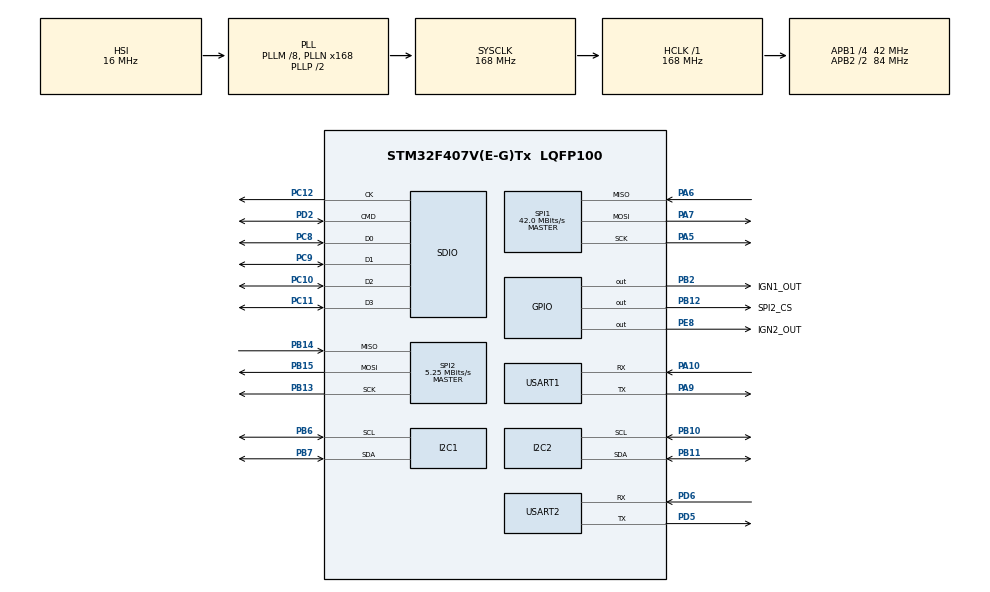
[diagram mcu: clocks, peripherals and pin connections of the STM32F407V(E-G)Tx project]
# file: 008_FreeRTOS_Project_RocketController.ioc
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Dma.Request0=USART1_TX
Dma.Request1=USART2_RX
Dma.Request2=USART2_TX
Dma.USART1_TX.0.Direction=DMA_MEMORY_TO_PERIPH
Dma.USART1_TX.0.FIFOMode=DMA_FIFOMODE_DISABLE
Dma.USART1_TX.0.Instance=DMA2_Stream7
Dma.USART1_TX.0.MemDataAlignment=DMA_MDATAALIGN_BYTE
Dma.USART1_TX.0.MemInc=DMA_MINC_ENABLE
Dma.USART1_TX.0.Mode=DMA_NORMAL
Dma.USART1_TX.0.PeriphDataAlignment=DMA_PDATAALIGN_BYTE
Dma.USART1_TX.0.PeriphInc=DMA_PINC_DISABLE
Dma.USART1_TX.0.Priority=DMA_PRIORITY_HIGH
Dma.USART2_RX.1.Direction=DMA_PERIPH_TO_MEMORY
Dma.USART2_RX.1.FIFOMode=DMA_FIFOMODE_DISABLE
Dma.USART2_RX.1.Instance=DMA1_Stream5
Dma.USART2_RX.1.MemDataAlignment=DMA_MDATAALIGN_BYTE
Dma.USART2_RX.1.MemInc=DMA_MINC_ENABLE
Dma.USART2_RX.1.Mode=DMA_CIRCULAR
Dma.USART2_RX.1.PeriphDataAlignment=DMA_PDATAALIGN_BYTE
Dma.USART2_RX.1.PeriphInc=DMA_PINC_DISABLE
Dma.USART2_RX.1.Priority=DMA_PRIORITY_MEDIUM
Dma.USART2_TX.2.Direction=DMA_MEMORY_TO_PERIPH
Dma.USART2_TX.2.FIFOMode=DMA_FIFOMODE_DISABLE
Dma.USART2_TX.2.Instance=DMA1_Stream6
Dma.USART2_TX.2.MemDataAlignment=DMA_MDATAALIGN_BYTE
Dma.USART2_TX.2.MemInc=DMA_MINC_ENABLE
Dma.USART2_TX.2.Mode=DMA_NORMAL
Dma.USART2_TX.2.PeriphDataAlignment=DMA_PDATAALIGN_BYTE
Dma.USART2_TX.2.PeriphInc=DMA_PINC_DISABLE
Dma.USART2_TX.2.Priority=DMA_PRIORITY_MEDIUM
Mcu.Family=STM32F4
Mcu.Name=STM32F407V(E-G)Tx
Mcu.Package=LQFP100
NVIC.DMA1_Stream5_IRQn=true\:0\:0\:false\:false\:true\:false\:true\:true
NVIC.DMA1_Stream6_IRQn=true\:0\:0\:false\:false\:true\:false\:true\:true
NVIC.DMA2_Stream7_IRQn=true\:0\:0\:false\:false\:true\:false\:true\:true
NVIC.PriorityGroup=NVIC_PRIORITYGROUP_4
NVIC.TIM6_DAC_IRQn=true\:15\:0\:false\:false\:true\:false\:true\:true
NVIC.TimeBase=TIM6_DAC_IRQn
NVIC.TimeBaseIP=TIM6
PA10.Mode=Asynchronous
PA10.Signal=USART1_RX
PA13.Mode=Trace_Asynchronous_SW
PA13.Signal=SYS_JTMS-SWDIO
PA14.Mode=Trace_Asynchronous_SW
PA14.Signal=SYS_JTCK-SWCLK
PA5.Mode=Full_Duplex_Master
PA5.Signal=SPI1_SCK
PA6.Mode=Full_Duplex_Master
PA6.Signal=SPI1_MISO
PA7.Mode=Full_Duplex_Master
PA7.Signal=SPI1_MOSI
PA9.Mode=Asynchronous
PA9.Signal=USART1_TX
PB10.Mode=I2C
PB10.Signal=I2C2_SCL
PB11.Mode=I2C
PB11.Signal=I2C2_SDA
PB12.GPIO_Label=SPI2_CS
PB12.Signal=GPIO_Output
PB13.Mode=Full_Duplex_Master
PB13.Signal=SPI2_SCK
PB14.Mode=Full_Duplex_Master
PB14.Signal=SPI2_MISO
PB15.Mode=Full_Duplex_Master
PB15.Signal=SPI2_MOSI
PB2.GPIO_Label=IGN1_OUT
PB2.GPIO_Speed=GPIO_SPEED_FREQ_VERY_HIGH
PB2.Signal=GPIO_Output
PB3.Mode=Trace_Asynchronous_SW
PB3.Signal=SYS_JTDO-SWO
PB6.Mode=I2C
PB6.Signal=I2C1_SCL
PB7.Mode=I2C
PB7.Signal=I2C1_SDA
PC10.Mode=SD_4_bits_Wide_bus
PC10.Signal=SDIO_D2
PC11.Mode=SD_4_bits_Wide_bus
PC11.Signal=SDIO_D3
PC12.Mode=SD_4_bits_Wide_bus
PC12.Signal=SDIO_CK
PC8.Mode=SD_4_bits_Wide_bus
PC8.Signal=SDIO_D0
PC9.Mode=SD_4_bits_Wide_bus
PC9.Signal=SDIO_D1
PD2.Mode=SD_4_bits_Wide_bus
PD2.Signal=SDIO_CMD
PD5.Mode=Asynchronous
PD5.Signal=USART2_TX
PD6.Mode=Asynchronous
PD6.Signal=USART2_RX
PE8.GPIO_Label=IGN2_OUT
PE8.GPIO_Speed=GPIO_SPEED_FREQ_VERY_HIGH
PE8.Signal=GPIO_Output
ProjectManager.HeapSize=0x200
ProjectManager.StackSize=0x400
ProjectManager.TargetToolchain=STM32CubeIDE
RCC.48MHZClocksFreq_Value=42000000
RCC.AHBFreq_Value=168000000
RCC.APB1CLKDivider=RCC_HCLK_DIV4
RCC.APB1Freq_Value=42000000
RCC.APB1TimFreq_Value=84000000
RCC.APB2CLKDivider=RCC_HCLK_DIV2
RCC.APB2Freq_Value=84000000
RCC.APB2TimFreq_Value=168000000
RCC.CortexFreq_Value=168000000
RCC.HCLKFreq_Value=168000000
RCC.HSE_VALUE=25000000
RCC.HSI_VALUE=16000000
RCC.LSE_VALUE=32768
RCC.PLLM=8
RCC.PLLN=168
RCC.PLLQ=8
RCC.SYSCLKFreq_VALUE=168000000
RCC.SYSCLKSource=RCC_SYSCLKSOURCE_PLLCLK
RCC.VCOOutputFreq_Value=336000000
SDIO.ClockDiv=4
SPI1.CalculateBaudRate=42.0 MBits/s
SPI1.Direction=SPI_DIRECTION_2LINES
SPI1.Mode=SPI_MODE_MASTER
SPI1.VirtualType=VM_MASTER
SPI2.BaudRatePrescaler=SPI_BAUDRATEPRESCALER_8
SPI2.CalculateBaudRate=5.25 MBits/s
SPI2.Direction=SPI_DIRECTION_2LINES
SPI2.Mode=SPI_MODE_MASTER
SPI2.VirtualType=VM_MASTER
USART1.VirtualMode=VM_ASYNC
USART2.VirtualMode=VM_ASYNC
VP_FATFS_VS_SDIO.Mode=SDIO
VP_SYS_VS_tim6.Mode=TIM6
board=custom

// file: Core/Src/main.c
/* USER CODE BEGIN Header */
/**
  ******************************************************************************
  * @file           : main.c
  * @brief          : Main program body
  ******************************************************************************
  * @attention
  *
  * Copyright (c) 2024 STMicroelectronics.
  * All rights reserved.
  *
  * This software is licensed under terms that can be found in the LICENSE file
  * in the root directory of this software component.
  * If no LICENSE file comes with this software, it is provided AS-IS.
  *
  ******************************************************************************
  */
/* USER CODE END Header */
#include "main.h"
#include "fatfs.h"

/* USER CODE BEGIN Includes */
#include "FreeRTOS.h"
#include "task.h"
#include "semphr.h"

//BME280 and BNO055 library
#include "bno055_stm32.h"
#include "bme280.h"
#include "lwgps/lwgps.h"
#include <math.h>

//SD Card library
#include "File_Handling.h"

#include "KalmanFilter.h"
/* USER CODE END Includes */

/* USER CODE BEGIN PTD */
typedef union{
 float sayi;
 unsigned char array[4];
} float32toInt8;
/* USER CODE END PTD */

I2C_HandleTypeDef hi2c1;
I2C_HandleTypeDef hi2c2;

SD_HandleTypeDef hsd;

SPI_HandleTypeDef hspi1;
SPI_HandleTypeDef hspi2;

UART_HandleTypeDef huart1;
UART_HandleTypeDef huart2;
DMA_HandleTypeDef hdma_usart1_tx;
DMA_HandleTypeDef hdma_usart2_rx;
DMA_HandleTypeDef hdma_usart2_tx;

/* USER CODE BEGIN PV */
xTaskHandle UARTTaskHandle;
xTaskHandle BME280TaskHandle;
xTaskHandle BNO055TaskHandle;
/*Rocket controller tasks*/
xTaskHandle GPSTaskHandle; //GPS
xTaskHandle SDCardTaskHandle; //SD card
xTaskHandle FirstIgnTaskHandle;
xTaskHandle SecondIgnTaskHandle;

//Create Semaphore
xSemaphoreHandle Semap1;

//Kalman Filter
KalmanFilter_t kalman_filter;

//---------Sensor and Modules Variables-------------
//BNO055 variables
bno055_vector_t accel,gyro,euler;
//accelometer variables
float accel_x,accel_y,accel_z;
//gyroscope variables
float gyro_x,gyro_y,gyro_z;
//Euler angles variables
float euler_x,euler_y,euler_z;

//After kalman filters BNO055 variables
//accelometer kalman variables
float accel_x_kalman, accel_y_kalman, accel_z_kalman;

//gyroscope kalman variables
float gyro_x_kalman, gyro_y_kalman, gyro_z_kalman;

//Euler kalman angles
float euler_x_kalman, euler_y_kalman, euler_z_kalman;

//BME280 variables
float Temperature,Pressure,Humidity;

extern float Altitude;

//Kalman variable
float Altitude_Kalman,Pressure_Kalman, Temperature_Kalman, Humidity_Kalman;

//GPS variables
float gpsAlt,gpsLat,gpsLon;

//message length
char buff[60];

int sayac=0;

lwgps_t gps;

extern uint8_t rx_data[1];

//ignitions status
int ign1_status =0;
int ign2_status =0;

//velocity variables
float v0 =0.0; //başlangıç hızı
float velocity = 0.0; // Başlangıç hızı (0 kabul edelim)
float velocity_change;
float dt = 0.1; // Zaman adımı (100 ms)
float acceleration_vector;

int indx = 0;
//transmit message buffer

/* USER CODE END PV */

void SystemClock_Config(void);
static void MX_GPIO_Init(void);
static void MX_DMA_Init(void);
static void MX_USART1_UART_Init(void);
static void MX_USART2_UART_Init(void);
static void MX_I2C1_Init(void);
static void MX_I2C2_Init(void);
static void MX_SPI1_Init(void);
static void MX_SPI2_Init(void);
static void MX_SDIO_SD_Init(void);
/* USER CODE BEGIN PFP */
void StartUARTTask(void *argument);
void StartBME280Task(void *argument);
void StartBNO055Task(void *argument);
void StartGPSTask(void *argument);
void StartIgn1Task(void *argument);
void StartIgn2Task(void *argument);
void StartSDCardTask(void *argument);

float calculate_velocity(float v0,float a, float dt);
float calculate_acceleration_magnitude(float ax, float ay, float az);
//checksum function
unsigned char cs(void);
//paket mesaj
void paket(int sayac);
/* USER CODE END PFP */

int main(void)
{
  /* USER CODE BEGIN 1 */
	BaseType_t status;
  /* USER CODE END 1 */

  /* MCU Configuration--------------------------------------------------------*/

  /* Reset of all peripherals, Initializes the Flash interface and the Systick. */
  HAL_Init();

  /* Configure the system clock */
  SystemClock_Config();

  /* Initialize all configured peripherals */
  MX_GPIO_Init();
  MX_DMA_Init();
  MX_USART1_UART_Init();
  MX_USART2_UART_Init();
  MX_I2C1_Init();
  MX_I2C2_Init();
  MX_SPI1_Init();
  MX_SPI2_Init();
  MX_FATFS_Init();
  MX_SDIO_SD_Init();
  /* USER CODE BEGIN 2 */

  //Init Kalman filter
  KalmanFilter_Init(&kalman_filter, 2.0f, 1.0f, 0.01f);

  //Config BME280
   BME280_Config(OSRS_2, OSRS_16, OSRS_1, MODE_NORMAL, T_SB_0p5, IIR_16);

   //Config BNO055
   bno055_assignI2C(&hi2c2);
   bno055_setup();
   bno055_setOperationModeNDOF();

   //SD Card inits
   Mount_SD("/");
   Format_SD();
   Create_File("Rocket_Data.TXT");
   Unmount_SD("/");

   //Create UART task
   status = xTaskCreate(StartUARTTask, "UART", 128, NULL, 2, &UARTTaskHandle);

   configASSERT(status==pdPASS);

   //Create BME280 Task
   status = xTaskCreate(StartBME280Task, "BME280", 128, NULL, 2, &BME280TaskHandle);

   configASSERT(status==pdPASS);

   /*BNO055 Task*/
   status = xTaskCreate(StartBNO055Task, "BNO055", 128, NULL, 2, &BNO055TaskHandle);

   configASSERT(status==pdPASS);

   /*GPS Task*/
   status = xTaskCreate(StartGPSTask, "NEOM8N", 128, NULL, 2, &GPSTaskHandle);

   configASSERT(status==pdPASS);

   /*Ignition 1 and 2 task*/
   status = xTaskCreate(StartIgn1Task, "IGN1", 128, NULL, 2, &FirstIgnTaskHandle);

   configASSERT(status==pdPASS);

   status = xTaskCreate(StartIgn2Task, "IGN2", 128, NULL, 2, &SecondIgnTaskHandle);

   configASSERT(status==pdPASS);

   /*SD Card Task. This task has lower priority*/
   status = xTaskCreate(StartSDCardTask, "SD-Card", 128, NULL, 1, &SDCardTaskHandle);

   configASSERT(status==pdPASS);

   //Create semaphore. I used semaphore because that there are same priorites task.
   Semap1 = xSemaphoreCreateCounting(9, 0);

   if(Semap1 != NULL){
 	  //Create successfully
   }

   vTaskStartScheduler();

   xTaskNotifyGive(BME280TaskHandle);

   xTaskNotifyGive(BNO055TaskHandle);

   xTaskNotify(GPSTaskHandle,0,eNoAction);

   xTaskNotify(UARTTaskHandle,0,eNoAction);
  /* USER CODE END 2 */

  /* Infinite loop */
  while (1)
  {

  }
}

void SystemClock_Config(void)
{
  RCC_OscInitTypeDef RCC_OscInitStruct = {0};
  RCC_ClkInitTypeDef RCC_ClkInitStruct = {0};

  /** Configure the main internal regulator output voltage
  */
  __HAL_RCC_PWR_CLK_ENABLE();
  __HAL_PWR_VOLTAGESCALING_CONFIG(PWR_REGULATOR_VOLTAGE_SCALE1);

  /** Initializes the RCC Oscillators according to the specified parameters
  * in the RCC_OscInitTypeDef structure.
  */
  RCC_OscInitStruct.OscillatorType = RCC_OSCILLATORTYPE_HSI;
  RCC_OscInitStruct.HSIState = RCC_HSI_ON;
  RCC_OscInitStruct.HSICalibrationValue = RCC_HSICALIBRATION_DEFAULT;
  RCC_OscInitStruct.PLL.PLLState = RCC_PLL_ON;
  RCC_OscInitStruct.PLL.PLLSource = RCC_PLLSOURCE_HSI;
  RCC_OscInitStruct.PLL.PLLM = 8;
  RCC_OscInitStruct.PLL.PLLN = 168;
  RCC_OscInitStruct.PLL.PLLP = RCC_PLLP_DIV2;
  RCC_OscInitStruct.PLL.PLLQ = 8;
  if (HAL_RCC_OscConfig(&RCC_OscInitStruct) != HAL_OK)
  {
    Error_Handler();
  }

  /** Initializes the CPU, AHB and APB buses clocks
  */
  RCC_ClkInitStruct.ClockType = RCC_CLOCKTYPE_HCLK|RCC_CLOCKTYPE_SYSCLK
                              |RCC_CLOCKTYPE_PCLK1|RCC_CLOCKTYPE_PCLK2;
  RCC_ClkInitStruct.SYSCLKSource = RCC_SYSCLKSOURCE_PLLCLK;
  RCC_ClkInitStruct.AHBCLKDivider = RCC_SYSCLK_DIV1;
  RCC_ClkInitStruct.APB1CLKDivider = RCC_HCLK_DIV4;
  RCC_ClkInitStruct.APB2CLKDivider = RCC_HCLK_DIV2;

  if (HAL_RCC_ClockConfig(&RCC_ClkInitStruct, FLASH_LATENCY_5) != HAL_OK)
  {
    Error_Handler();
  }
}

static void MX_I2C1_Init(void)
{

  hi2c1.Instance = I2C1;
  hi2c1.Init.ClockSpeed = 100000;
  hi2c1.Init.DutyCycle = I2C_DUTYCYCLE_2;
  hi2c1.Init.OwnAddress1 = 0;
  hi2c1.Init.AddressingMode = I2C_ADDRESSINGMODE_7BIT;
  hi2c1.Init.DualAddressMode = I2C_DUALADDRESS_DISABLE;
  hi2c1.Init.OwnAddress2 = 0;
  hi2c1.Init.GeneralCallMode = I2C_GENERALCALL_DISABLE;
  hi2c1.Init.NoStretchMode = I2C_NOSTRETCH_DISABLE;
  if (HAL_I2C_Init(&hi2c1) != HAL_OK)
  {
    Error_Handler();
  }

}

static void MX_I2C2_Init(void)
{

  hi2c2.Instance = I2C2;
  hi2c2.Init.ClockSpeed = 100000;
  hi2c2.Init.DutyCycle = I2C_DUTYCYCLE_2;
  hi2c2.Init.OwnAddress1 = 0;
  hi2c2.Init.AddressingMode = I2C_ADDRESSINGMODE_7BIT;
  hi2c2.Init.DualAddressMode = I2C_DUALADDRESS_DISABLE;
  hi2c2.Init.OwnAddress2 = 0;
  hi2c2.Init.GeneralCallMode = I2C_GENERALCALL_DISABLE;
  hi2c2.Init.NoStretchMode = I2C_NOSTRETCH_DISABLE;
  if (HAL_I2C_Init(&hi2c2) != HAL_OK)
  {
    Error_Handler();
  }

}

static void MX_SDIO_SD_Init(void)
{

  hsd.Instance = SDIO;
  hsd.Init.ClockEdge = SDIO_CLOCK_EDGE_RISING;
  hsd.Init.ClockBypass = SDIO_CLOCK_BYPASS_DISABLE;
  hsd.Init.ClockPowerSave = SDIO_CLOCK_POWER_SAVE_DISABLE;
  hsd.Init.BusWide = SDIO_BUS_WIDE_4B;
  hsd.Init.HardwareFlowControl = SDIO_HARDWARE_FLOW_CONTROL_DISABLE;
  hsd.Init.ClockDiv = 4;

}

static void MX_SPI1_Init(void)
{

  /* SPI1 parameter configuration*/
  hspi1.Instance = SPI1;
  hspi1.Init.Mode = SPI_MODE_MASTER;
  hspi1.Init.Direction = SPI_DIRECTION_2LINES;
  hspi1.Init.DataSize = SPI_DATASIZE_8BIT;
  hspi1.Init.CLKPolarity = SPI_POLARITY_LOW;
  hspi1.Init.CLKPhase = SPI_PHASE_1EDGE;
  hspi1.Init.NSS = SPI_NSS_SOFT;
  hspi1.Init.BaudRatePrescaler = SPI_BAUDRATEPRESCALER_2;
  hspi1.Init.FirstBit = SPI_FIRSTBIT_MSB;
  hspi1.Init.TIMode = SPI_TIMODE_DISABLE;
  hspi1.Init.CRCCalculation = SPI_CRCCALCULATION_DISABLE;
  hspi1.Init.CRCPolynomial = 10;
  if (HAL_SPI_Init(&hspi1) != HAL_OK)
  {
    Error_Handler();
  }

}

static void MX_SPI2_Init(void)
{

  /* SPI2 parameter configuration*/
  hspi2.Instance = SPI2;
  hspi2.Init.Mode = SPI_MODE_MASTER;
  hspi2.Init.Direction = SPI_DIRECTION_2LINES;
  hspi2.Init.DataSize = SPI_DATASIZE_8BIT;
  hspi2.Init.CLKPolarity = SPI_POLARITY_LOW;
  hspi2.Init.CLKPhase = SPI_PHASE_1EDGE;
  hspi2.Init.NSS = SPI_NSS_SOFT;
  hspi2.Init.BaudRatePrescaler = SPI_BAUDRATEPRESCALER_8;
  hspi2.Init.FirstBit = SPI_FIRSTBIT_MSB;
  hspi2.Init.TIMode = SPI_TIMODE_DISABLE;
  hspi2.Init.CRCCalculation = SPI_CRCCALCULATION_DISABLE;
  hspi2.Init.CRCPolynomial = 10;
  if (HAL_SPI_Init(&hspi2) != HAL_OK)
  {
    Error_Handler();
  }

}

static void MX_USART1_UART_Init(void)
{

  huart1.Instance = USART1;
  huart1.Init.BaudRate = 115200;
  huart1.Init.WordLength = UART_WORDLENGTH_8B;
  huart1.Init.StopBits = UART_STOPBITS_1;
  huart1.Init.Parity = UART_PARITY_NONE;
  huart1.Init.Mode = UART_MODE_TX_RX;
  huart1.Init.HwFlowCtl = UART_HWCONTROL_NONE;
  huart1.Init.OverSampling = UART_OVERSAMPLING_16;
  if (HAL_UART_Init(&huart1) != HAL_OK)
  {
    Error_Handler();
  }

}

static void MX_USART2_UART_Init(void)
{

  huart2.Instance = USART2;
  huart2.Init.BaudRate = 115200;
  huart2.Init.WordLength = UART_WORDLENGTH_8B;
  huart2.Init.StopBits = UART_STOPBITS_1;
  huart2.Init.Parity = UART_PARITY_NONE;
  huart2.Init.Mode = UART_MODE_TX_RX;
  huart2.Init.HwFlowCtl = UART_HWCONTROL_NONE;
  huart2.Init.OverSampling = UART_OVERSAMPLING_16;
  if (HAL_UART_Init(&huart2) != HAL_OK)
  {
    Error_Handler();
  }

}

static void MX_DMA_Init(void)
{

  /* DMA controller clock enable */
  __HAL_RCC_DMA2_CLK_ENABLE();
  __HAL_RCC_DMA1_CLK_ENABLE();

  /* DMA interrupt init */
  /* DMA1_Stream5_IRQn interrupt configuration */
  HAL_NVIC_SetPriority(DMA1_Stream5_IRQn, 0, 0);
  HAL_NVIC_EnableIRQ(DMA1_Stream5_IRQn);
  /* DMA1_Stream6_IRQn interrupt configuration */
  HAL_NVIC_SetPriority(DMA1_Stream6_IRQn, 0, 0);
  HAL_NVIC_EnableIRQ(DMA1_Stream6_IRQn);
  /* DMA2_Stream7_IRQn interrupt configuration */
  HAL_NVIC_SetPriority(DMA2_Stream7_IRQn, 0, 0);
  HAL_NVIC_EnableIRQ(DMA2_Stream7_IRQn);

}

static void MX_GPIO_Init(void)
{
  GPIO_InitTypeDef GPIO_InitStruct = {0};

  /* GPIO Ports Clock Enable */
  __HAL_RCC_GPIOA_CLK_ENABLE();
  __HAL_RCC_GPIOB_CLK_ENABLE();
  __HAL_RCC_GPIOE_CLK_ENABLE();
  __HAL_RCC_GPIOC_CLK_ENABLE();
  __HAL_RCC_GPIOD_CLK_ENABLE();

  /*Configure GPIO pin Output Level */
  HAL_GPIO_WritePin(GPIOB, IGN1_OUT_Pin|SPI2_CS_Pin, GPIO_PIN_RESET);

  /*Configure GPIO pin Output Level */
  HAL_GPIO_WritePin(IGN2_OUT_GPIO_Port, IGN2_OUT_Pin, GPIO_PIN_RESET);

  /*Configure GPIO pin : IGN1_OUT_Pin */
  GPIO_InitStruct.Pin = IGN1_OUT_Pin;
  GPIO_InitStruct.Mode = GPIO_MODE_OUTPUT_PP;
  GPIO_InitStruct.Pull = GPIO_NOPULL;
  GPIO_InitStruct.Speed = GPIO_SPEED_FREQ_VERY_HIGH;
  HAL_GPIO_Init(IGN1_OUT_GPIO_Port, &GPIO_InitStruct);

  /*Configure GPIO pin : IGN2_OUT_Pin */
  GPIO_InitStruct.Pin = IGN2_OUT_Pin;
  GPIO_InitStruct.Mode = GPIO_MODE_OUTPUT_PP;
  GPIO_InitStruct.Pull = GPIO_NOPULL;
  GPIO_InitStruct.Speed = GPIO_SPEED_FREQ_VERY_HIGH;
  HAL_GPIO_Init(IGN2_OUT_GPIO_Port, &GPIO_InitStruct);

  /*Configure GPIO pin : SPI2_CS_Pin */
  GPIO_InitStruct.Pin = SPI2_CS_Pin;
  GPIO_InitStruct.Mode = GPIO_MODE_OUTPUT_PP;
  GPIO_InitStruct.Pull = GPIO_NOPULL;
  GPIO_InitStruct.Speed = GPIO_SPEED_FREQ_LOW;
  HAL_GPIO_Init(SPI2_CS_GPIO_Port, &GPIO_InitStruct);

}

/* USER CODE BEGIN 4 */

//UART Task
void StartUARTTask(void *argument){

	for(;;){
		if(Semap1 != NULL){
			if(xSemaphoreTake(Semap1,portMAX_DELAY) == pdTRUE){
				//Send message to ground station
				if(HAL_UART_Transmit(&huart1, (uint8_t *)buff, 60, 150) != HAL_OK){
					//Error handler

				}
				xSemaphoreGive(Semap1);
			}
		}
	}
}

//BME280 task
void StartBME280Task(void *argument){

	for(;;){
		ulTaskNotifyTake(pdTRUE,portMAX_DELAY);
		if(Semap1 != NULL){
			if(xSemaphoreTake(Semap1,portMAX_DELAY) == pdTRUE){
				/* We were able to obtain the semaphore and can now access the
				   shared resource. */
				Temperature = BME280_Temperature();

				Pressure = BME280_Pressure();

				Humidity = BME280_Humidity();

				Altitude = BME280_Altitude();

				//vTaskDelay(pdMS_TO_TICKS(50));

				//Kalman variables
				Temperature_Kalman = BME280_Kalman_Temp(Temperature);

				Humidity_Kalman = BME280_Kalman_Hum(Humidity);

				Pressure_Kalman = BME280_Kalman_Press(Pressure);

				Altitude_Kalman = BME280_Kalman_Alt(Altitude);

				// xTaskNotify to First IGN and Second IGN@
				xTaskNotify(FirstIgnTaskHandle,0,eNoAction);

				xTaskNotify(SecondIgnTaskHandle,0,eNoAction);

				//Get relative altitude, temperature and pressure
				// research how to calculate altitude from pressure

				/* We have finished accessing the shared resource. Release the
				   semaphore. */

				xSemaphoreGive(Semap1);
			}else{
				/* We could not obtain the semaphore and can therefore not access
				   the shared resource safely. */
			}

		}
		xTaskNotifyGive(FirstIgnTaskHandle);
		xTaskNotifyGive(SecondIgnTaskHandle);
	}
}

//BNO055 task
void StartBNO055Task(void *argument){

	for(;;){
		ulTaskNotifyTake(pdTRUE,portMAX_DELAY);
		if(Semap1 != NULL){
			if(xSemaphoreTake(Semap1,portMAX_DELAY) == pdTRUE){
				/* We were able to obtain the semaphore and can now access the
					shared resource. */
				//Get accelerometer variables
				accel = bno055_getVectorAccelerometer();

				accel_x = accel.x;
				accel_y = accel.y;
				accel_z = accel.z;

				accel_x_kalman = updateEstimate(&kalman_filter, accel_x);
				accel_y_kalman = updateEstimate(&kalman_filter, accel_y);
				accel_z_kalman = updateEstimate(&kalman_filter, accel_z);

				//vTaskDelay(pdMS_TO_TICKS(100));

				//Get gyroscope variables
				gyro = bno055_getVectorGyroscope();

				gyro_x = gyro.x;
				gyro_y = gyro.y;
				gyro_z = gyro.z;

				gyro_x_kalman = updateEstimate(&kalman_filter, gyro_x);
				gyro_y_kalman = updateEstimate(&kalman_filter, gyro_y);
				gyro_z_kalman = updateEstimate(&kalman_filter, gyro_z);

				//vTaskDelay(pdMS_TO_TICKS(100));

				//get euler variables
				euler = bno055_getVectorEuler();

				euler_x = euler.x;
				euler_y = euler.y;
				euler_z = euler.z;

				euler_x_kalman = updateEstimate(&kalman_filter, euler_x);
				euler_y_kalman = updateEstimate(&kalman_filter, euler_y);
				euler_z_kalman = updateEstimate(&kalman_filter, euler_z);

				//vector acceleration
				acceleration_vector = calculate_acceleration_magnitude(accel_x_kalman, accel_y_kalman, accel_z_kalman);

				//calculate the derivative of velocity
				velocity_change = calculate_velocity(velocity, acceleration_vector, dt);

				//update the new velocity
				velocity += velocity_change;

				//Notify IGN1 function
				xTaskNotify(FirstIgnTaskHandle,0,eNoAction);

				//vTaskDelay(pdMS_TO_TICKS(100));

				xSemaphoreGive(Semap1);
			}
		}
		xTaskNotifyGive(FirstIgnTaskHandle);
	}

}

//GPS function
void StartGPSTask(void *argument){

	for(;;){
		if(Semap1 != NULL){
			if(xSemaphoreTake(Semap1,portMAX_DELAY) == pdTRUE){

				gpsAlt = gps.altitude;
				gpsLat = gps.latitude;
				gpsLon = gps.longitude;

				/* We have finished accessing the shared resource. Release the
				semaphore. */
				xSemaphoreGive(Semap1);
			}
		}
	}

}

//Ignition 1 function
//@NOTE: Based parameters are change of accelometer (velocity) over hight is 4000m
void StartIgn1Task(void *argument){

	for(;;){
		ulTaskNotifyTake(pdTRUE,portMAX_DELAY);

		if(ign1_status == 0){
			if(Altitude_Kalman >= 4000.0f){
				if(fabs(velocity) < 0.01 && fabs(acceleration_vector) < 0.01){
					ign1_status = 1;
					//fire the ignition output
					HAL_GPIO_WritePin(IGN1_OUT_GPIO_Port, IGN1_OUT_Pin, GPIO_PIN_SET);
				}
			}
		}
		//send a notification to BNO055 and BME280 task that bringing out of the blocked state
		xTaskNotifyGive(BNO055TaskHandle);
		xTaskNotifyGive(BME280TaskHandle);
	}

}

//Ignition 2 function
//Only altitude parameter <=500 or 600
void StartIgn2Task(void *argument){

	for(;;){
		ulTaskNotifyTake(pdTRUE,portMAX_DELAY);
		if(ign1_status == 1){
			if(ign2_status == 0){
				if(Altitude_Kalman >= 600.0f){
					//IGN2 is high
					ign2_status = 1;
					HAL_GPIO_WritePin(IGN2_OUT_GPIO_Port, IGN2_OUT_Pin, GPIO_PIN_SET);

				}
			}
		}
		xTaskNotifyGive(BME280TaskHandle);
	}

}

void StartSDCardTask(void *argument){

	for(;;){
		if(Semap1 != NULL){
			if(xSemaphoreTake(Semap1,portMAX_DELAY) == pdTRUE){
				Mount_SD("/");
				Update_File("Rocket_Data.TXT", buff);
				Unmount_SD("/");
				indx++;

				xSemaphoreGive(Semap1);
			}
		}
	}
}

//paket oluşturma
void paket(int sayac){
	buff[0] = sayac;

	//Altitude
	float32toInt8 alt_conversion;
	alt_conversion.sayi = Altitude_Kalman;
	buff[1] = alt_conversion.array[0];
	buff[2] = alt_conversion.array[1];
	buff[3] = alt_conversion.array[2];
	buff[4] = alt_conversion.array[3];

	//GPS Latitude
	float32toInt8 gpsConversion_lat;
	gpsConversion_lat.sayi = gpsLat;
	buff[5] = gpsConversion_lat.array[0];
	buff[6] = gpsConversion_lat.array[1];
	buff[7] = gpsConversion_lat.array[2];
	buff[8] = gpsConversion_lat.array[3];

	//GPS Longitude
	float32toInt8 gpsConversion_lon;
	gpsConversion_lon.sayi = gpsLon;
	buff[9] = gpsConversion_lon.array[0];
	buff[10] = gpsConversion_lon.array[1];
	buff[11] = gpsConversion_lon.array[2];
	buff[12] = gpsConversion_lon.array[3];

	float32toInt8 gpsConversion_alt;
	gpsConversion_alt.sayi = gpsAlt;
	buff[13] = gpsConversion_alt.array[0];
	buff[14] = gpsConversion_alt.array[1];
	buff[15] = gpsConversion_alt.array[2];
	buff[16] = gpsConversion_alt.array[3];

	float32toInt8 accelx_conversion;
	accelx_conversion.sayi = accel_x_kalman;
	buff[17] = accelx_conversion.array[0];
	buff[18] = accelx_conversion.array[1];
	buff[19] = accelx_conversion.array[2];
	buff[20] = accelx_conversion.array[3];

	float32toInt8 accely_conversion;
	accely_conversion.sayi = accel_y_kalman;
	buff[21] = accely_conversion.array[0];
	buff[22] = accely_conversion.array[1];
	buff[23] = accely_conversion.array[2];
	buff[24] = accely_conversion.array[3];

	float32toInt8 accelz_conversion;
	accelz_conversion.sayi = accel_z_kalman;
	buff[25] = accelz_conversion.array[0];
	buff[26] = accelz_conversion.array[1];
	buff[27] = accelz_conversion.array[2];
	buff[28] = accelz_conversion.array[3];

	float32toInt8 gyro_x_conversion;
	gyro_x_conversion.sayi = gyro_x_kalman;
	buff[29] = gyro_x_conversion.array[0];
	buff[30] = gyro_x_conversion.array[1];
	buff[31] = gyro_x_conversion.array[2];
	buff[32] = gyro_x_conversion.array[3];

	float32toInt8 gyro_y_conversion;
	gyro_y_conversion.sayi = gyro_y_kalman;
	buff[33] = gyro_y_conversion.array[0];
	buff[34] = gyro_y_conversion.array[1];
	buff[35] = gyro_y_conversion.array[2];
	buff[36] = gyro_y_conversion.array[3];

	float32toInt8 gyro_z_conversion;
	gyro_z_conversion.sayi = gyro_z_kalman;
	buff[37] = gyro_z_conversion.array[0];
	buff[38] = gyro_z_conversion.array[1];
	buff[39] = gyro_z_conversion.array[2];
	buff[40] = gyro_z_conversion.array[3];

	float32toInt8 euler_x_conversion;
	euler_x_conversion.sayi = euler_x_kalman;
	buff[41] = euler_x_conversion.array[0];
	buff[42] = euler_x_conversion.array[1];
	buff[43] = euler_x_conversion.array[2];
	buff[44] = euler_x_conversion.array[3];

	float32toInt8 euler_y_conversion;
	euler_y_conversion.sayi = euler_y_kalman;
	buff[45] = euler_y_conversion.array[0];
	buff[46] = euler_y_conversion.array[1];
	buff[47] = euler_y_conversion.array[2];
	buff[48] = euler_y_conversion.array[3];

	float32toInt8 euler_z_conversion;
	euler_z_conversion.sayi = euler_z_kalman;
	buff[49] = euler_z_conversion.array[0];
	buff[50] = euler_z_conversion.array[1];
	buff[51] = euler_z_conversion.array[2];
	buff[52] = euler_z_conversion.array[3];

	buff[53] = (uint8_t)ign1_status;
	buff[54] = (uint8_t)ign2_status;

	buff[55] = cs();
}

//checksum
unsigned char cs(){
	 int checkSum = 0;
	 for(int i=1; i<48; i++)
	 {
		 checkSum += buff[i];
	 }
	 return (unsigned char) (checkSum % 256);
}

float calculate_velocity(float v0,float a, float dt){
	return  v0 + a * dt;
}

float calculate_acceleration_magnitude(float ax, float ay, float az){
	return sqrt(ax * ax + ay * ay + az * az);
}

/* USER CODE END 4 */

void HAL_TIM_PeriodElapsedCallback(TIM_HandleTypeDef *htim)
{
  if (htim->Instance == TIM6) {
    HAL_IncTick();
  }
}

void Error_Handler(void)
{
  __disable_irq();
  while (1)
  {
  }
}
